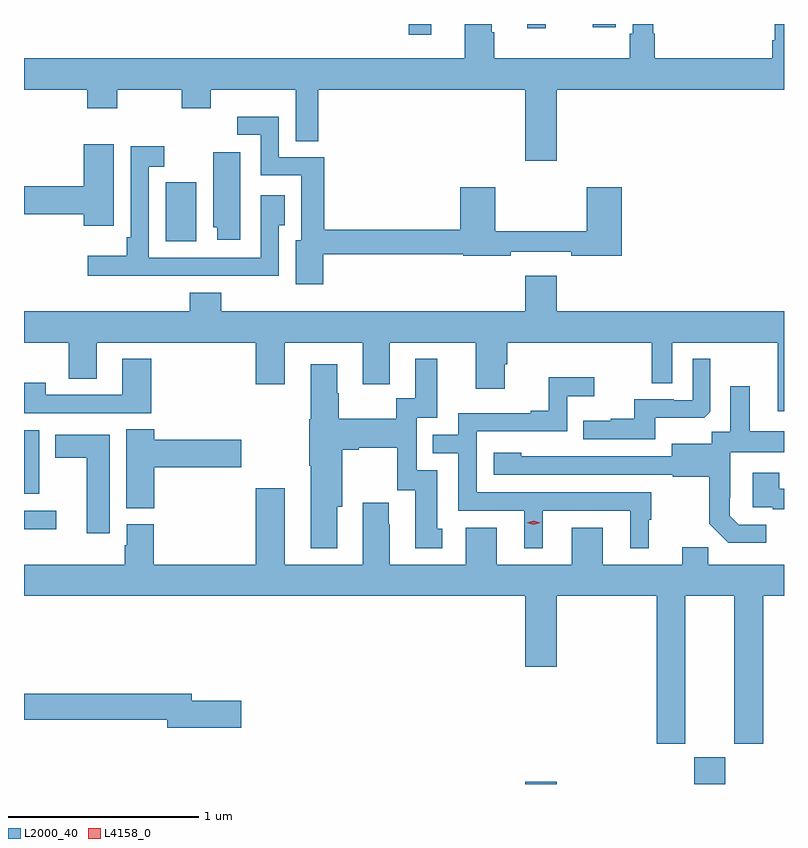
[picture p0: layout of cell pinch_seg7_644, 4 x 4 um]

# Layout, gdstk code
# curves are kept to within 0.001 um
import gdstk
lib = gdstk.Library(unit=1e-6, precision=1e-09)
def R(c, l, rs):  # rectangles x0, y0, x1, y1
    for r in rs: c.add(gdstk.rectangle(r[:2], r[2:], *l))
def P(c, l, *ps):  # polygons
    for p in ps: c.add(gdstk.Polygon(p, *l))
L2000_40 = (2000, 40)
L4158_0 = (4158, 0)

pinch_seg7_644 = lib.new_cell('pinch_seg7_644')
R(pinch_seg7_644, L2000_40, [(200.972,1027.597,201.136,1027.609), (201.86,1027.597,202.024,1027.737), (198.333,1028.939,198.502,1029.036), (198.333,1029.125,198.412,1029.46), (199.079,1030.453,199.24,1030.764), (200.359,1031.541,200.476,1031.597), (200.982,1031.574,201.078,1031.597), (201.326,1031.58,201.447,1031.597)])
P(pinch_seg7_644, L2000_40, [(198.333,1031.252),(198.665,1031.252),(198.665,1031.153),(198.825,1031.153),(198.825,1031.252),(199.162,1031.252),(199.162,1031.153),(199.317,1031.153),(199.317,1031.252),(199.763,1031.252),(199.763,1030.981),(199.882,1030.981),(199.882,1031.252),(200.972,1031.252),(200.972,1030.878),(201.136,1030.878),(201.136,1031.252),(202.333,1031.252),(202.333,1031.597),(202.283,1031.597),(202.283,1031.512),(202.271,1031.512),(202.271,1031.416),(201.653,1031.416),(201.653,1031.546),(201.646,1031.546),(201.646,1031.597),(201.537,1031.597),(201.537,1031.546),(201.521,1031.546),(201.521,1031.416),(200.807,1031.416),(200.807,1031.553),(200.794,1031.553),(200.794,1031.597),(200.654,1031.597),(200.654,1031.416),(198.333,1031.416)],
  [(199.907,1030.386),(200.646,1030.386),(200.646,1030.378),(200.896,1030.378),(200.896,1030.398),(201.212,1030.398),(201.212,1030.378),(201.479,1030.378),(201.479,1030.738),(201.296,1030.738),(201.296,1030.507),(200.813,1030.507),(200.813,1030.738),(200.63,1030.738),(200.63,1030.514),(199.912,1030.514),(199.912,1030.896),(199.674,1030.896),(199.674,1031.11),(199.455,1031.11),(199.455,1031.013),(199.578,1031.013),(199.578,1030.8),(199.793,1030.8),(199.793,1030.459),(199.763,1030.459),(199.763,1030.227),(199.907,1030.227)],
  [(198.805,1030.963),(198.647,1030.963),(198.647,1030.742),(198.333,1030.742),(198.333,1030.595),(198.647,1030.595),(198.647,1030.536),(198.805,1030.536)],
  [(199.087,1030.272),(199.453,1030.272),(199.453,1030.271),(199.674,1030.271),(199.674,1030.537),(199.705,1030.537),(199.705,1030.696),(199.578,1030.696),(199.578,1030.368),(198.99,1030.368),(198.99,1030.845),(199.072,1030.845),(199.072,1030.954),(198.894,1030.954),(198.894,1030.474),(198.874,1030.474),(198.874,1030.378),(198.669,1030.378),(198.669,1030.271),(199.087,1030.271)],
  [(199.471,1030.921),(199.328,1030.921),(199.328,1030.527),(199.349,1030.527),(199.349,1030.461),(199.471,1030.461)],
  [(202.333,1030.084),(201.136,1030.084),(201.136,1030.273),(200.972,1030.273),(200.972,1030.084),(199.37,1030.084),(199.37,1030.183),(199.205,1030.183),(199.205,1030.084),(198.333,1030.084),(198.333,1029.92),(198.568,1029.92),(198.568,1029.73),(198.715,1029.73),(198.715,1029.92),(199.553,1029.92),(199.553,1029.702),(199.705,1029.702),(199.705,1029.92),(200.117,1029.92),(200.117,1029.702),(200.257,1029.702),(200.257,1029.92),(200.711,1029.92),(200.711,1029.678),(200.863,1029.678),(200.863,1029.807),(200.876,1029.807),(200.876,1029.92),(201.636,1029.92),(201.636,1029.706),(201.744,1029.706),(201.744,1029.92),(202.301,1029.92),(202.301,1029.558),(202.333,1029.558)],
  [(199.004,1029.835),(198.851,1029.835),(198.851,1029.645),(198.447,1029.645),(198.447,1029.709),(198.333,1029.709),(198.333,1029.549),(199.004,1029.549)],
  [(199.981,1029.057),(200.007,1029.057),(200.007,1029.356),(200.095,1029.356),(200.095,1029.368),(200.297,1029.368),(200.297,1029.144),(200.393,1029.144),(200.393,1028.838),(200.533,1028.838),(200.533,1028.94),(200.509,1028.94),(200.509,1029.249),(200.4,1029.249),(200.4,1029.525),(200.509,1029.525),(200.509,1029.835),(200.393,1029.835),(200.393,1029.626),(200.292,1029.626),(200.292,1029.52),(199.989,1029.52),(199.989,1029.654),(199.981,1029.654),(199.981,1029.805),(199.841,1029.805),(199.841,1029.516),(199.834,1029.516),(199.834,1029.272),(199.841,1029.272),(199.841,1028.837),(199.981,1028.837)],
  [(201.655,1029.524),(201.913,1029.524),(201.945,1029.555),(201.945,1029.835),(201.852,1029.835),(201.852,1029.618),(201.752,1029.618),(201.752,1029.621),(201.545,1029.621),(201.545,1029.52),(201.421,1029.52),(201.421,1029.508),(201.277,1029.508),(201.277,1029.411),(201.655,1029.411)],
  [(201.064,1029.036),(201.524,1029.036),(201.524,1028.837),(201.622,1028.837),(201.622,1028.988),(201.634,1028.988),(201.634,1029.132),(200.715,1029.132),(200.715,1029.453),(201.192,1029.453),(201.192,1029.638),(201.334,1029.638),(201.334,1029.737),(201.094,1029.737),(201.094,1029.562),(200.999,1029.562),(200.999,1029.549),(200.619,1029.549),(200.619,1029.435),(200.485,1029.435),(200.485,1029.339),(200.619,1029.339),(200.619,1029.036),(200.966,1029.036),(200.966,1028.837),(201.064,1028.837)],
  [(202.24,1028.961),(202.095,1028.961),(202.048,1029.008),(202.048,1029.103),(202.05,1029.103),(202.05,1029.344),(202.333,1029.344),(202.333,1029.454),(202.153,1029.454),(202.153,1029.691),(202.049,1029.691),(202.049,1029.452),(201.954,1029.452),(201.954,1029.388),(201.743,1029.388),(201.743,1029.321),(200.949,1029.322),(200.949,1029.34),(200.805,1029.34),(200.805,1029.225),(201.747,1029.225),(201.747,1029.213),(201.939,1029.213),(201.939,1028.967),(202.039,1028.867),(202.24,1028.867)],
  [(199.019,1029.263),(199.477,1029.263),(199.477,1029.41),(199.019,1029.41),(199.019,1029.464),(198.872,1029.464),(198.872,1029.049),(199.019,1029.049)],
  [(198.784,1029.436),(198.497,1029.436),(198.497,1029.314),(198.662,1029.314),(198.662,1028.916),(198.784,1028.916)],
  [(202.333,1029.15),(202.309,1029.15),(202.309,1029.235),(202.169,1029.235),(202.169,1029.054),(202.273,1029.054),(202.273,1029.042),(202.333,1029.042)],
  [(201.814,1028.588),(202.07,1028.588),(202.07,1027.809),(202.223,1027.809),(202.223,1028.588),(202.333,1028.588),(202.333,1028.752),(201.935,1028.752),(201.935,1028.843),(201.797,1028.843),(201.797,1028.752),(201.379,1028.752),(201.379,1028.947),(201.215,1028.947),(201.215,1028.752),(200.821,1028.752),(200.821,1028.947),(200.657,1028.947),(200.657,1028.752),(200.257,1028.752),(200.257,1028.963),(200.254,1028.963),(200.254,1029.076),(200.117,1029.076),(200.117,1028.752),(199.705,1028.752),(199.705,1029.154),(199.553,1029.154),(199.553,1028.752),(199.016,1028.752),(199.016,1028.964),(198.875,1028.964),(198.875,1028.853),(198.863,1028.853),(198.863,1028.752),(198.333,1028.752),(198.333,1028.588),(200.972,1028.588),(200.972,1028.214),(201.136,1028.214),(201.136,1028.588),(201.662,1028.588),(201.662,1027.809),(201.814,1027.809)],
  [(199.477,1028.036),(199.216,1028.036),(199.216,1028.072),(198.333,1028.072),(198.333,1027.936),(199.088,1027.936),(199.088,1027.894),(199.477,1027.894)])
P(pinch_seg7_644, L4158_0, [(201.015,1028.962),(200.979,1028.972),(200.979,1028.972),(200.979,1028.972),(201.015,1028.982),(201.05,1028.972),(201.051,1028.972),(201.05,1028.972)])

lib.write_gds('pinch_seg7_644.gds')
